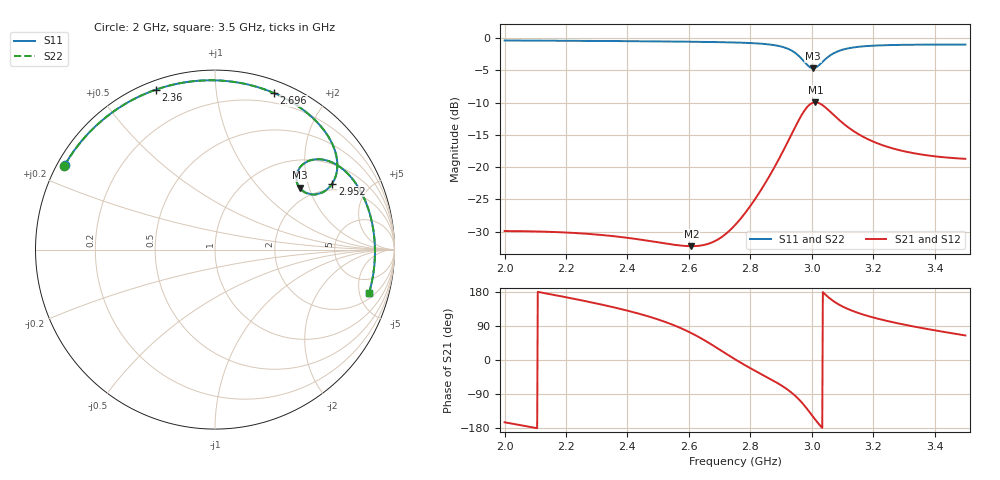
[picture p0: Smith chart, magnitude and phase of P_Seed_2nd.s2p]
! Touchstone file exported from HFSS 2022.1.0
!  File:  C:/Users/Hamza Safder/Downloads/PSF-V2 with holder (2).aedt
!  Generated:  11:53:26 PM  Sep 21, 2023
!  Design:  HFSSDesign1
!  Project:  PSF-V2 with holder (2)
!  Setup:  Setup1
!  Solution:  Sweep
! Variables:
!  WS = 5mm
!  ax = 15mm
!  az = 3.18mm
!  azd = 3mm
!  bx = 13mm
!  bx2 = 12.5mm
!  bx3 = 3.16mm
!  cin = 27.8mm
!  gap = 0.7mm
!  mid = 3mm
!  shift = 21.24mm
!  strip_1L = 18.62mm
!  substrate_L = 80mm
!  substrate_W = 70mm
!  t = 3mm
!  w50 = 9.18mm
!  wt = 1mm
!  xs = 0.8mm
!  zzz = 8mm
# GHz S MA R 50.000000
! Terminal data exported
! Port[1] = ground_T1
! Port[2] = ground_T2
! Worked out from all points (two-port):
!   751 points, 2 GHz to 3.5 GHz, reference 50 ohm
!   highest |S21| = -9.95 dB at 3.012 GHz (marker M1); lowest = -32.3 dB at 2.608 GHz (marker M2)
!   |S21| within 3 dB of the highest: 2.955 GHz to 3.095 GHz (140.4 MHz wide, 4.64 % of centre)
!   lowest |S11| = -4.7 dB at 3.004 GHz (marker M3), VSWR 3.82, Z = 82.6 + j86.8 ohm
!   |S11| at or under -10 dB: nowhere
!   |S22| runs from -4.7 to -0.4 dB; largest |S21 - S12| = 5.8e-15
!   S11 on the Smith chart (normalised r, x): 2 GHz: 0.02, +0.26; 2.36 GHz: 0.04, +0.70; 2.696 GHz: 0.11, +1.44; 2.952 GHz: 1.71, +2.88; 3.5 GHz: 2.58, -6.14
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2  0.9605 150.8  0.03191 -164.4  0.03191 -164.4  0.9604 150.8
! Gamma 0 0 0 0
! Port Impedance 50 0 50 0
2.12  0.9575 137.6  0.03161 177.9  0.03161 177.9  0.9574 137.6
2.25  0.9538 122.9  0.03059 157.5  0.03059 157.5  0.9537 123.0
2.36  0.9502 110.3  0.02902 138.1  0.02902 138.1  0.9501 110.3
2.5  0.9446 93.7  0.02607 106.9  0.02607 106.9  0.9444 93.8
2.608  0.9389 80.6  0.02435 70.9  0.02435 70.9  0.9387 80.6
2.696  0.9323 69.4  0.02759 29.4  0.02759 29.4  0.9321 69.4
2.75  0.9262 62.2  0.03546 1.9  0.03546 1.9  0.926 62.2
2.816  0.913 52.8  0.05677 -28.8  0.05677 -28.8  0.9127 52.8
2.888  0.8749 41.1  0.1098 -60.7  0.1098 -60.7  0.8744 41.0
2.924  0.8247 34.3  0.1608 -79.8  0.1608 -79.8  0.824 34.2
2.952  0.7495 29.4  0.2182 -99.0  0.2182 -99.0  0.7483 29.3
2.978  0.6472 28.6  0.2786 -122.3  0.2786 -122.3  0.6454 28.5
3  0.5869 34.6  0.3132 -145.4  0.3132 -145.4  0.5846 34.6
3.004  0.585 36.2  0.316 -149.6  0.316 -149.6  0.5827 36.2
3.012  0.5909 39.2  0.318 -158.1  0.318 -158.1  0.5887 39.3
3.048  0.7001 43.9  0.2854 169.8  0.2854 169.8  0.6988 44.0
3.086  0.793 38.9  0.2356 147.4  0.2356 147.4  0.7923 39.0
3.158  0.8606 27.4  0.1767 122.3  0.1767 122.3  0.8602 27.4
3.25  0.884 14.6  0.1427 102.2  0.1427 102.2  0.8838 14.6
3.368  0.8913 -0.3  0.1241 82.9  0.1241 82.9  0.8912 -0.3
3.5  0.8921 -15.8  0.1159 64.8  0.1159 64.8  0.892 -15.8
